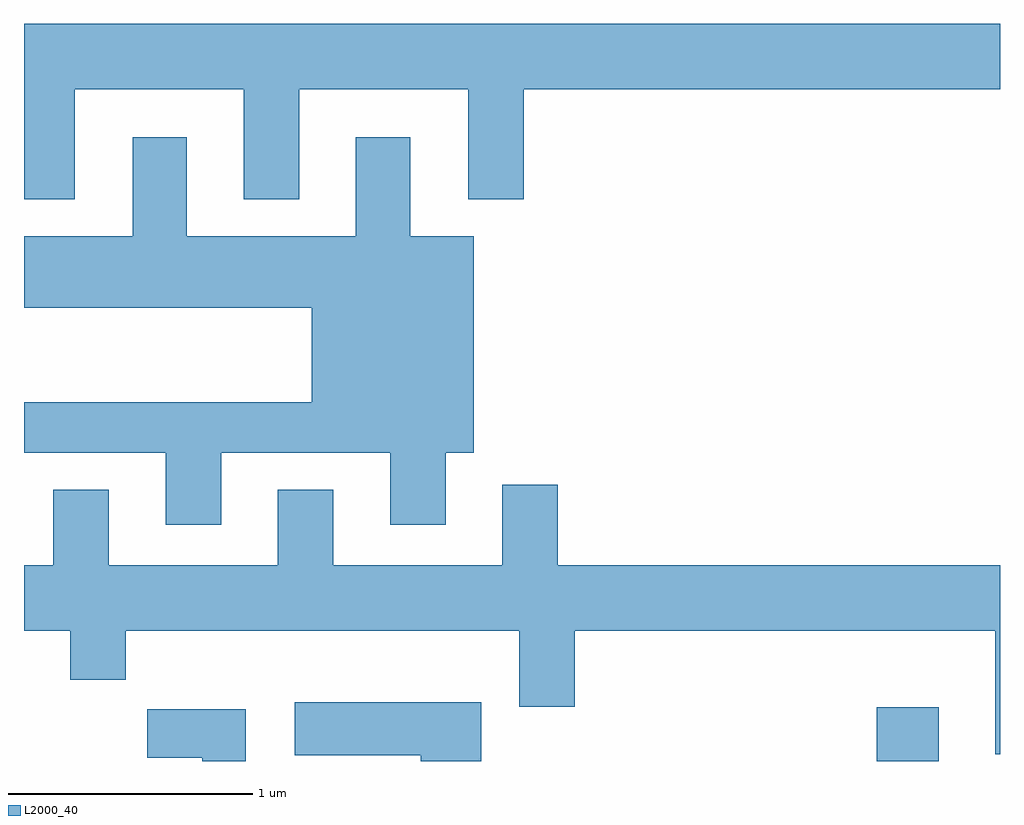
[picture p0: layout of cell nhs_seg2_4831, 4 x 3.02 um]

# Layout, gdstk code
import gdstk
lib = gdstk.Library(unit=1e-6, precision=1e-09)
def R(c, l, rs):  # rectangles x0, y0, x1, y1
    for r in rs: c.add(gdstk.rectangle(r[:2], r[2:], *l))
def P(c, l, *ps):  # polygons
    for p in ps: c.add(gdstk.Polygon(p, *l))
L2000_40 = (2000, 40)

nhs_seg2_4831 = lib.new_cell('nhs_seg2_4831')
R(nhs_seg2_4831, L2000_40, [(331.106,1027.802,331.359,1028.024)])
P(nhs_seg2_4831, L2000_40, [(327.819,1030.556),(328.511,1030.556),(328.511,1030.106),(328.739,1030.106),(328.739,1030.556),(329.431,1030.556),(329.431,1030.106),(329.659,1030.106),(329.659,1030.556),(331.611,1030.556),(331.611,1030.824),(327.611,1030.824),(327.611,1030.106),(327.819,1030.106)],
  [(328.419,1029.066),(329.111,1029.066),(329.111,1028.771),(329.339,1028.771),(329.339,1029.066),(329.454,1029.066),(329.454,1029.954),(329.194,1029.954),(329.194,1030.359),(328.971,1030.359),(328.971,1029.954),(328.279,1029.954),(328.279,1030.359),(328.056,1030.359),(328.056,1029.954),(327.611,1029.954),(327.611,1029.661),(328.791,1029.661),(328.791,1029.274),(327.611,1029.274),(327.611,1029.066),(328.191,1029.066),(328.191,1028.771),(328.419,1028.771)],
  [(331.611,1028.604),(329.799,1028.604),(329.799,1028.934),(329.571,1028.934),(329.571,1028.604),(328.879,1028.604),(328.879,1028.914),(328.651,1028.914),(328.651,1028.604),(327.959,1028.604),(327.959,1028.914),(327.731,1028.914),(327.731,1028.604),(327.611,1028.604),(327.611,1028.336),(327.801,1028.336),(327.801,1028.136),(328.029,1028.136),(328.029,1028.336),(329.641,1028.336),(329.641,1028.026),(329.869,1028.026),(329.869,1028.336),(331.591,1028.336),(331.591,1027.831),(331.611,1027.831)],
  [(329.484,1028.044),(328.721,1028.044),(328.721,1027.826),(329.236,1027.826),(329.236,1027.802),(329.484,1027.802)],
  [(328.519,1028.014),(328.116,1028.014),(328.116,1027.816),(328.341,1027.816),(328.341,1027.802),(328.519,1027.802)])

lib.write_gds('nhs_seg2_4831.gds')
